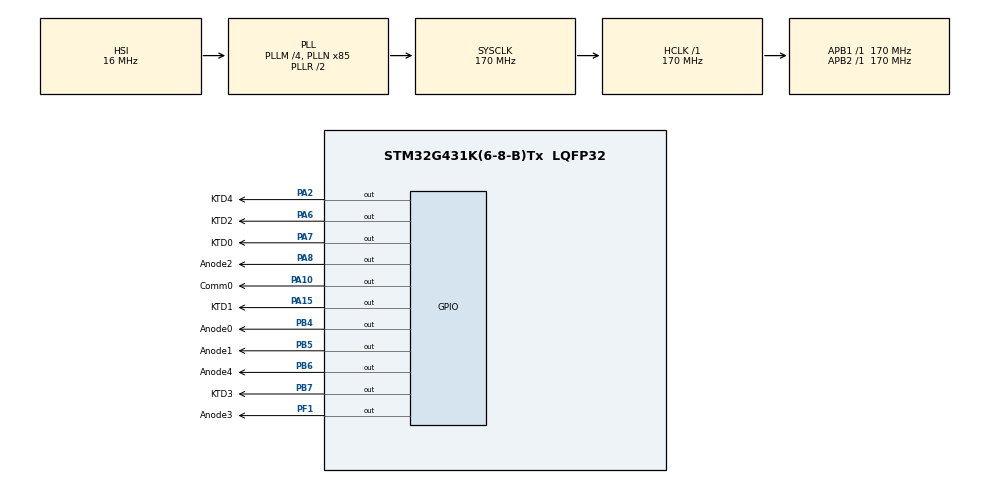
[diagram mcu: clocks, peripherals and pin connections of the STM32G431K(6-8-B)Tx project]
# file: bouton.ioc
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Mcu.Family=STM32G4
Mcu.Name=STM32G431K(6-8-B)Tx
Mcu.Package=LQFP32
NVIC.PriorityGroup=NVIC_PRIORITYGROUP_4
PA10.GPIO_Label=Comm0
PA10.Signal=GPIO_Output
PA13.GPIO_Label=T_SWDIO
PA13.Mode=Serial_Wire
PA13.Signal=SYS_JTMS-SWDIO
PA14.GPIO_Label=T_SWCLK
PA14.Mode=Serial_Wire
PA14.Signal=SYS_JTCK-SWCLK
PA15.GPIO_Label=KTD1
PA15.GPIO_PuPd=GPIO_NOPULL
PA15.Signal=GPIO_Output
PA2.GPIO_Label=KTD4
PA2.GPIO_PuPd=GPIO_NOPULL
PA2.Signal=GPIO_Output
PA6.GPIO_Label=KTD2
PA6.GPIO_PuPd=GPIO_NOPULL
PA6.Signal=GPIO_Output
PA7.GPIO_Label=KTD0
PA7.GPIO_PuPd=GPIO_NOPULL
PA7.PinState=GPIO_PIN_RESET
PA7.Signal=GPIO_Output
PA8.GPIO_Label=Anode2
PA8.Signal=GPIO_Output
PB3.GPIO_Label=T_SWO
PB3.Signal=SYS_JTDO-SWO
PB4.GPIO_Label=Anode0
PB4.PinState=GPIO_PIN_RESET
PB4.Signal=GPIO_Output
PB5.GPIO_Label=Anode1
PB5.Signal=GPIO_Output
PB6.GPIO_Label=Anode4
PB6.Signal=GPIO_Output
PB7.GPIO_Label=KTD3
PB7.GPIO_PuPd=GPIO_NOPULL
PB7.Signal=GPIO_Output
PF1-OSC_OUT.GPIO_Label=Anode3
PF1-OSC_OUT.Signal=GPIO_Output
ProjectManager.HeapSize=0x200
ProjectManager.StackSize=0x400
ProjectManager.TargetToolchain=STM32CubeIDE
RCC.ADC12Freq_Value=170000000
RCC.AHBFreq_Value=170000000
RCC.APB1Freq_Value=170000000
RCC.APB1TimFreq_Value=170000000
RCC.APB2Freq_Value=170000000
RCC.APB2TimFreq_Value=170000000
RCC.CortexFreq_Value=170000000
RCC.EXTERNAL_CLOCK_VALUE=12288000
RCC.HCLKFreq_Value=170000000
RCC.HSE_VALUE=8000000
RCC.HSI48_VALUE=48000000
RCC.HSI_VALUE=16000000
RCC.LSE_VALUE=32768
RCC.PLLM=RCC_PLLM_DIV4
RCC.PLLN=85
RCC.SYSCLKFreq_VALUE=170000000
RCC.SYSCLKSource=RCC_SYSCLKSOURCE_PLLCLK
RCC.USBFreq_Value=170000000
RCC.VCOOutputFreq_Value=340000000
VP_SYS_VS_DBSignals.Mode=DisableDeadBatterySignals
board=NUCLEO-G431KB

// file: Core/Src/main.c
/* USER CODE BEGIN Header */
/**
  ******************************************************************************
  * @file           : main.c
  * @brief          : Main program body
  ******************************************************************************
  * @attention
  *
  * <h2><center>&copy; Copyright (c) 2021 STMicroelectronics.
  * All rights reserved.</center></h2>
  *
  * This software component is licensed by ST under BSD 3-Clause license,
  * the "License"; You may not use this file except in compliance with the
  * License. You may obtain a copy of the License at:
  *                        opensource.org/licenses/BSD-3-Clause
  *
  ******************************************************************************
  */
/* USER CODE END Header */
#include "main.h"

void SystemClock_Config(void);
static void MX_GPIO_Init(void);

int main(void)
{

  /* MCU Configuration--------------------------------------------------------*/

  /* Reset of all peripherals, Initializes the Flash interface and the Systick. */
  HAL_Init();

  /* Configure the system clock */
  SystemClock_Config();

  /* Initialize all configured peripherals */
  MX_GPIO_Init();

  /* Infinite loop */
  /* USER CODE BEGIN WHILE */
  while (1)
  {
if (HAL_GPIO_ReadPin (Comm0_GPIO_Port ,Comm0_Pin)==1){
	  /* Premier */
	  HAL_GPIO_WritePin (Anode0_GPIO_Port ,Anode0_Pin ,0);
	  HAL_GPIO_WritePin (Anode1_GPIO_Port ,Anode1_Pin ,1);
	  HAL_GPIO_WritePin (Anode2_GPIO_Port ,Anode2_Pin ,1);
	  HAL_GPIO_WritePin (Anode3_GPIO_Port ,Anode3_Pin ,1);
	  HAL_GPIO_WritePin (Anode4_GPIO_Port ,Anode4_Pin ,1);

	  HAL_GPIO_WritePin (KTD0_GPIO_Port ,KTD0_Pin ,1);
	  HAL_GPIO_WritePin (KTD1_GPIO_Port ,KTD1_Pin ,0);
	  HAL_GPIO_WritePin (KTD2_GPIO_Port ,KTD2_Pin ,0);
	  HAL_GPIO_WritePin (KTD3_GPIO_Port ,KTD3_Pin ,0);
	  HAL_GPIO_WritePin (KTD4_GPIO_Port ,KTD4_Pin ,0);
	  HAL_Delay(1);

	  /* Deuxième */

	  HAL_GPIO_WritePin (Anode0_GPIO_Port ,Anode0_Pin ,1);
	  HAL_GPIO_WritePin (Anode1_GPIO_Port ,Anode1_Pin ,0);
	  HAL_GPIO_WritePin (Anode2_GPIO_Port ,Anode2_Pin ,1);
	  HAL_GPIO_WritePin (Anode3_GPIO_Port ,Anode3_Pin ,1);
	  HAL_GPIO_WritePin (Anode4_GPIO_Port ,Anode4_Pin ,1);

	  HAL_GPIO_WritePin (KTD0_GPIO_Port ,KTD0_Pin ,0);
	  HAL_GPIO_WritePin (KTD1_GPIO_Port ,KTD1_Pin ,1);
	  HAL_GPIO_WritePin (KTD2_GPIO_Port ,KTD2_Pin ,0);
	  HAL_GPIO_WritePin (KTD3_GPIO_Port ,KTD3_Pin ,0);
	  HAL_GPIO_WritePin (KTD4_GPIO_Port ,KTD4_Pin ,0);
	  HAL_Delay(1);

	  /* Troisième */
	  HAL_GPIO_WritePin (Anode0_GPIO_Port ,Anode0_Pin ,1);
	  HAL_GPIO_WritePin (Anode1_GPIO_Port ,Anode1_Pin ,1);
	  HAL_GPIO_WritePin (Anode2_GPIO_Port ,Anode2_Pin ,0);
	  HAL_GPIO_WritePin (Anode3_GPIO_Port ,Anode3_Pin ,1);
	  HAL_GPIO_WritePin (Anode4_GPIO_Port ,Anode4_Pin ,1);

	  HAL_GPIO_WritePin (KTD0_GPIO_Port ,KTD0_Pin ,0);
	  HAL_GPIO_WritePin (KTD1_GPIO_Port ,KTD1_Pin ,0);
	  HAL_GPIO_WritePin (KTD2_GPIO_Port ,KTD2_Pin ,1);
	  HAL_GPIO_WritePin (KTD3_GPIO_Port ,KTD3_Pin ,0);
	  HAL_GPIO_WritePin (KTD4_GPIO_Port ,KTD4_Pin ,0);
	  HAL_Delay(1);

	  /* Quatrième */
	  HAL_GPIO_WritePin (Anode0_GPIO_Port ,Anode0_Pin ,1);
	  HAL_GPIO_WritePin (Anode1_GPIO_Port ,Anode1_Pin ,1);
	  HAL_GPIO_WritePin (Anode2_GPIO_Port ,Anode2_Pin ,1);
	  HAL_GPIO_WritePin (Anode3_GPIO_Port ,Anode3_Pin ,0);
	  HAL_GPIO_WritePin (Anode4_GPIO_Port ,Anode4_Pin ,1);

	  HAL_GPIO_WritePin (KTD0_GPIO_Port ,KTD0_Pin ,0);
	  HAL_GPIO_WritePin (KTD1_GPIO_Port ,KTD1_Pin ,0);
	  HAL_GPIO_WritePin (KTD2_GPIO_Port ,KTD2_Pin ,0);
	  HAL_GPIO_WritePin (KTD3_GPIO_Port ,KTD3_Pin ,1);
	  HAL_GPIO_WritePin (KTD4_GPIO_Port ,KTD4_Pin ,0);
	  HAL_Delay(1);

	  /* Cinquième */
	  HAL_GPIO_WritePin (Anode0_GPIO_Port ,Anode0_Pin ,1);
	  HAL_GPIO_WritePin (Anode1_GPIO_Port ,Anode1_Pin ,1);
	  HAL_GPIO_WritePin (Anode2_GPIO_Port ,Anode2_Pin ,1);
	  HAL_GPIO_WritePin (Anode3_GPIO_Port ,Anode3_Pin ,1);
	  HAL_GPIO_WritePin (Anode4_GPIO_Port ,Anode4_Pin ,0);

	  HAL_GPIO_WritePin (KTD0_GPIO_Port ,KTD0_Pin ,0);
	  HAL_GPIO_WritePin (KTD1_GPIO_Port ,KTD1_Pin ,0);
	  HAL_GPIO_WritePin (KTD2_GPIO_Port ,KTD2_Pin ,0);
	  HAL_GPIO_WritePin (KTD3_GPIO_Port ,KTD3_Pin ,0);
	  HAL_GPIO_WritePin (KTD4_GPIO_Port ,KTD4_Pin ,1);
	  HAL_Delay(1);
}
else
{
HAL_GPIO_WritePin (Anode0_GPIO_Port ,Anode0_Pin ,1);
HAL_GPIO_WritePin (Anode1_GPIO_Port ,Anode1_Pin ,1);
HAL_GPIO_WritePin (Anode2_GPIO_Port ,Anode2_Pin ,1);
HAL_GPIO_WritePin (Anode3_GPIO_Port ,Anode3_Pin ,1);
HAL_GPIO_WritePin (Anode4_GPIO_Port ,Anode4_Pin ,1);

HAL_GPIO_WritePin (KTD0_GPIO_Port ,KTD0_Pin ,0);
HAL_GPIO_WritePin (KTD1_GPIO_Port ,KTD1_Pin ,0);
HAL_GPIO_WritePin (KTD2_GPIO_Port ,KTD2_Pin ,0);
HAL_GPIO_WritePin (KTD3_GPIO_Port ,KTD3_Pin ,0);
HAL_GPIO_WritePin (KTD4_GPIO_Port ,KTD4_Pin ,0);
}
    /* USER CODE END WHILE */

}

void SystemClock_Config(void)
{
  RCC_OscInitTypeDef RCC_OscInitStruct = {0};
  RCC_ClkInitTypeDef RCC_ClkInitStruct = {0};

  /** Configure the main internal regulator output voltage
  */
  HAL_PWREx_ControlVoltageScaling(PWR_REGULATOR_VOLTAGE_SCALE1_BOOST);
  /** Initializes the RCC Oscillators according to the specified parameters
  * in the RCC_OscInitTypeDef structure.
  */
  RCC_OscInitStruct.OscillatorType = RCC_OSCILLATORTYPE_HSI;
  RCC_OscInitStruct.HSIState = RCC_HSI_ON;
  RCC_OscInitStruct.HSICalibrationValue = RCC_HSICALIBRATION_DEFAULT;
  RCC_OscInitStruct.PLL.PLLState = RCC_PLL_ON;
  RCC_OscInitStruct.PLL.PLLSource = RCC_PLLSOURCE_HSI;
  RCC_OscInitStruct.PLL.PLLM = RCC_PLLM_DIV4;
  RCC_OscInitStruct.PLL.PLLN = 85;
  RCC_OscInitStruct.PLL.PLLP = RCC_PLLP_DIV2;
  RCC_OscInitStruct.PLL.PLLQ = RCC_PLLQ_DIV2;
  RCC_OscInitStruct.PLL.PLLR = RCC_PLLR_DIV2;
  if (HAL_RCC_OscConfig(&RCC_OscInitStruct) != HAL_OK)
  {
    Error_Handler();
  }
  /** Initializes the CPU, AHB and APB buses clocks
  */
  RCC_ClkInitStruct.ClockType = RCC_CLOCKTYPE_HCLK|RCC_CLOCKTYPE_SYSCLK
                              |RCC_CLOCKTYPE_PCLK1|RCC_CLOCKTYPE_PCLK2;
  RCC_ClkInitStruct.SYSCLKSource = RCC_SYSCLKSOURCE_PLLCLK;
  RCC_ClkInitStruct.AHBCLKDivider = RCC_SYSCLK_DIV1;
  RCC_ClkInitStruct.APB1CLKDivider = RCC_HCLK_DIV1;
  RCC_ClkInitStruct.APB2CLKDivider = RCC_HCLK_DIV1;

  if (HAL_RCC_ClockConfig(&RCC_ClkInitStruct, FLASH_LATENCY_4) != HAL_OK)
  {
    Error_Handler();
  }
}

static void MX_GPIO_Init(void)
{
  GPIO_InitTypeDef GPIO_InitStruct = {0};

  /* GPIO Ports Clock Enable */
  __HAL_RCC_GPIOF_CLK_ENABLE();
  __HAL_RCC_GPIOA_CLK_ENABLE();
  __HAL_RCC_GPIOB_CLK_ENABLE();

  /*Configure GPIO pin Output Level */
  HAL_GPIO_WritePin(Anode3_GPIO_Port, Anode3_Pin, GPIO_PIN_RESET);

  /*Configure GPIO pin Output Level */
  HAL_GPIO_WritePin(GPIOA, KTD4_Pin|KTD2_Pin|KTD0_Pin|Anode2_Pin
                          |Comm0_Pin|KTD1_Pin, GPIO_PIN_RESET);

  /*Configure GPIO pin Output Level */
  HAL_GPIO_WritePin(GPIOB, Anode0_Pin|Anode1_Pin|Anode4_Pin|KTD3_Pin, GPIO_PIN_RESET);

  /*Configure GPIO pin : Anode3_Pin */
  GPIO_InitStruct.Pin = Anode3_Pin;
  GPIO_InitStruct.Mode = GPIO_MODE_OUTPUT_PP;
  GPIO_InitStruct.Pull = GPIO_NOPULL;
  GPIO_InitStruct.Speed = GPIO_SPEED_FREQ_LOW;
  HAL_GPIO_Init(Anode3_GPIO_Port, &GPIO_InitStruct);

  /*Configure GPIO pins : KTD4_Pin KTD2_Pin KTD0_Pin Anode2_Pin
                           Comm0_Pin KTD1_Pin */
  GPIO_InitStruct.Pin = KTD4_Pin|KTD2_Pin|KTD0_Pin|Anode2_Pin
                          |Comm0_Pin|KTD1_Pin;
  GPIO_InitStruct.Mode = GPIO_MODE_OUTPUT_PP;
  GPIO_InitStruct.Pull = GPIO_NOPULL;
  GPIO_InitStruct.Speed = GPIO_SPEED_FREQ_LOW;
  HAL_GPIO_Init(GPIOA, &GPIO_InitStruct);

  /*Configure GPIO pins : Anode0_Pin Anode1_Pin Anode4_Pin KTD3_Pin */
  GPIO_InitStruct.Pin = Anode0_Pin|Anode1_Pin|Anode4_Pin|KTD3_Pin;
  GPIO_InitStruct.Mode = GPIO_MODE_OUTPUT_PP;
  GPIO_InitStruct.Pull = GPIO_NOPULL;
  GPIO_InitStruct.Speed = GPIO_SPEED_FREQ_LOW;
  HAL_GPIO_Init(GPIOB, &GPIO_InitStruct);

}

void Error_Handler(void)
{
  __disable_irq();
  while (1)
  {
  }
}

/************************ (C) COPYRIGHT STMicroelectronics *****END OF FILE****/
